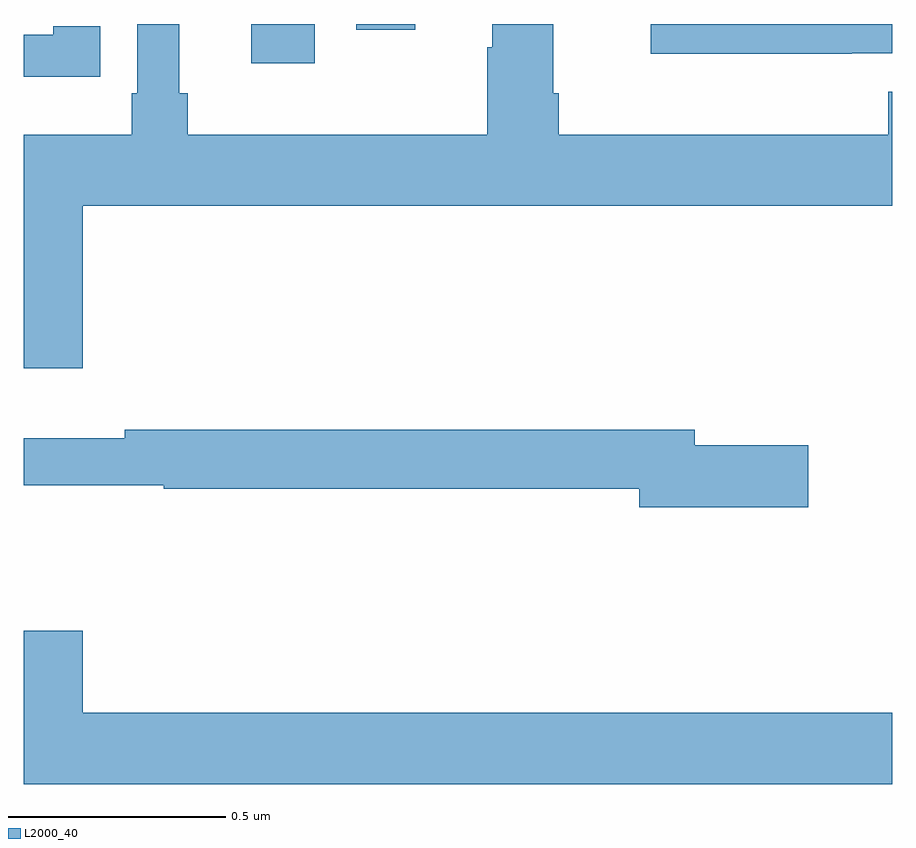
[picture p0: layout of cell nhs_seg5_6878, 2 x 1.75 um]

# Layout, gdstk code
import gdstk
lib = gdstk.Library(unit=1e-6, precision=1e-09)
def R(c, l, rs):  # rectangles x0, y0, x1, y1
    for r in rs: c.add(gdstk.rectangle(r[:2], r[2:], *l))
def P(c, l, *ps):  # polygons
    for p in ps: c.add(gdstk.Polygon(p, *l))
L2000_40 = (2000, 40)

nhs_seg5_6878 = lib.new_cell('nhs_seg5_6878')
R(nhs_seg5_6878, L2000_40, [(201.524,903.708,201.67,903.799), (201.765,903.786,201.901,903.799)])
P(nhs_seg5_6878, L2000_40, [(201.136,903.38),(203,903.38),(203,903.643),(202.991,903.643),(202.991,903.544),(202.232,903.544),(202.232,903.64),(202.219,903.64),(202.219,903.799),(202.079,903.799),(202.079,903.746),(202.067,903.746),(202.067,903.544),(201.377,903.544),(201.377,903.64),(201.358,903.64),(201.358,903.799),(201.261,903.799),(201.261,903.64),(201.248,903.64),(201.248,903.544),(201,903.544),(201,903.006),(201.136,903.006)],
  [(202.907,903.732),(203,903.732),(203,903.799),(202.444,903.799),(202.444,903.731),(202.907,903.731)],
  [(201.068,903.678),(201.176,903.678),(201.176,903.794),(201.068,903.794),(201.068,903.774),(201,903.774),(201,903.677),(201.068,903.677)],
  [(202.807,902.828),(202.546,902.828),(202.546,902.864),(201.232,902.864),(201.232,902.845),(201,902.845),(201,902.736),(201.322,902.736),(201.322,902.728),(202.418,902.728),(202.418,902.686),(202.807,902.686)],
  [(203,902.212),(201.136,902.212),(201.136,902.401),(201,902.401),(201,902.048),(203,902.048)])

lib.write_gds('nhs_seg5_6878.gds')
